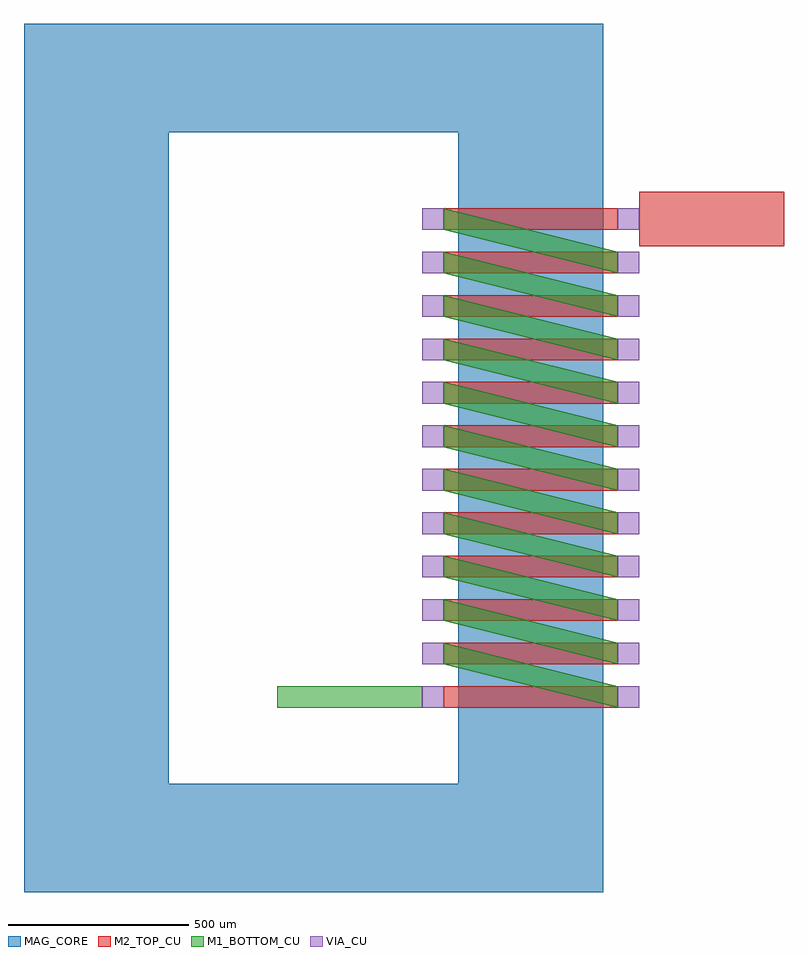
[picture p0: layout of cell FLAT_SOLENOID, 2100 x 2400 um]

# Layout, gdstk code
import gdstk
lib = gdstk.Library(unit=1e-6, precision=1e-09)
def R(c, l, rs):  # rectangles x0, y0, x1, y1
    for r in rs: c.add(gdstk.rectangle(r[:2], r[2:], *l))
def A(c, l, x, y, w, h, nx, ny, dx, dy):  # array of equal rectangles
    R(c, l, [(x+i*dx, y+j*dy, x+i*dx+w, y+j*dy+h) for i in range(nx) for j in range(ny)])
def P(c, l, *ps):  # polygons
    for p in ps: c.add(gdstk.Polygon(p, *l))
M1_BOTTOM_CU = (1, 0)
VIA_CU = (2, 0)
M2_TOP_CU = (3, 0)
MAG_CORE = (10, 0)

flat_solenoid = lib.new_cell('FLAT_SOLENOID')
R(flat_solenoid, M1_BOTTOM_CU, [(-700,-690,-300,-630)])
P(flat_solenoid, M1_BOTTOM_CU, [(240,-690),(-240,-570),(-240,-510),(240,-630)],
  [(240,-570),(-240,-450),(-240,-390),(240,-510)],
  [(240,-450),(-240,-330),(-240,-270),(240,-390)],
  [(240,-330),(-240,-210),(-240,-150),(240,-270)],
  [(240,-210),(-240,-90),(-240,-30),(240,-150)],
  [(240,-90),(-240,30),(-240,90),(240,-30)],
  [(240,30),(-240,150),(-240,210),(240,90)],
  [(240,150),(-240,270),(-240,330),(240,210)],
  [(240,270),(-240,390),(-240,450),(240,330)],
  [(240,390),(-240,510),(-240,570),(240,450)],
  [(240,510),(-240,630),(-240,690),(240,570)])
A(flat_solenoid, VIA_CU, -300, -690, 60, 60, 1, 12, 0, 120)
A(flat_solenoid, VIA_CU, 240, -690, 60, 60, 1, 12, 0, 120)
A(flat_solenoid, M2_TOP_CU, -240, -690, 480, 60, 1, 12, 0, 120)
R(flat_solenoid, M2_TOP_CU, [(300,585,700,735)])
P(flat_solenoid, MAG_CORE, [(-1400,-1200),(-1400,900),(-1000,900),(-1000,-900),(-200,-900),(-200,900),(-1400,900),(-1400,1200),(200,1200),(200,-1200)])

lib.write_gds('FLAT_SOLENOID.gds')
